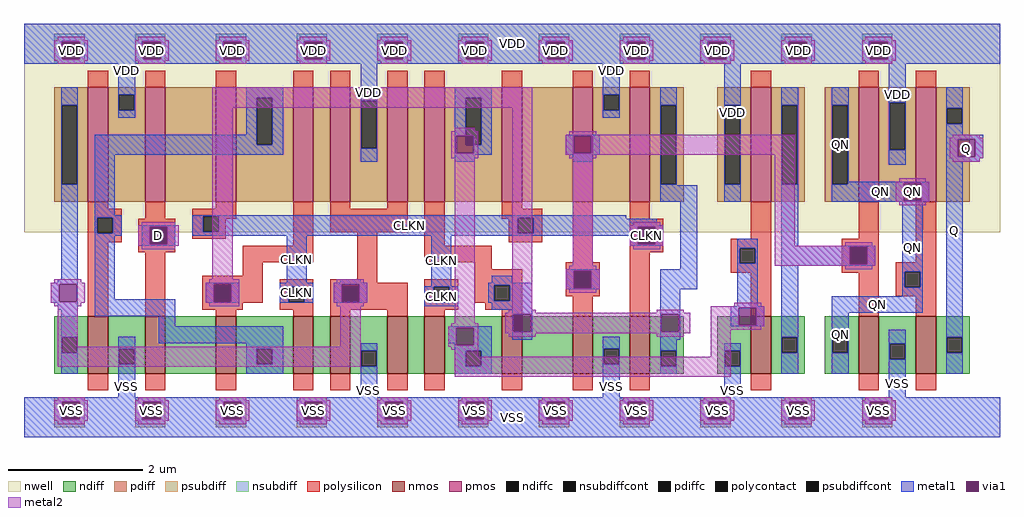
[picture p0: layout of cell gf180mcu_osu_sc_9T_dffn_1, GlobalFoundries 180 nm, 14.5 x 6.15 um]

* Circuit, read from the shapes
.subckt gf180mcu_osu_sc_9T_dffn_1 D Q QN CLKN VDD VSS
XM1 VSS n1 n2 VSS nfet_03v3 w=0.85u l=0.3u
XM2 n3 D VSS VSS nfet_03v3 w=0.85u l=0.3u
XM3 n1 n4 n3 VSS nfet_03v3 w=0.85u l=0.3u
XM4 n5 CLKN n1 VSS nfet_03v3 w=0.85u l=0.3u
XM5 VSS n2 n5 VSS nfet_03v3 w=0.85u l=0.3u
XM6 n6 n2 VSS VSS nfet_03v3 w=0.85u l=0.3u
XM7 n7 CLKN n6 VSS nfet_03v3 w=0.85u l=0.3u
XM8 n8 n4 n7 VSS nfet_03v3 w=0.85u l=0.3u
XM9 VSS n9 n8 VSS nfet_03v3 w=0.85u l=0.3u
XM10 n4 CLKN VSS VSS nfet_03v3 w=0.85u l=0.3u
XM11 n9 n7 VSS VSS nfet_03v3 w=0.85u l=0.3u
XM12 VSS n9 QN VSS nfet_03v3 w=0.85u l=0.3u
XM13 Q QN VSS VSS nfet_03v3 w=0.85u l=0.3u
XM14 VDD n1 n2 VDD pfet_03v3 w=1.7u l=0.3u
XM15 n10 D VDD VDD pfet_03v3 w=1.7u l=0.3u
XM16 n1 CLKN n10 VDD pfet_03v3 w=1.7u l=0.3u
XM17 n11 n4 n1 VDD pfet_03v3 w=1.7u l=0.3u
XM18 VDD n2 n11 VDD pfet_03v3 w=1.7u l=0.3u
XM19 n12 n2 VDD VDD pfet_03v3 w=1.7u l=0.3u
XM20 n7 n4 n12 VDD pfet_03v3 w=1.7u l=0.3u
XM21 n13 CLKN n7 VDD pfet_03v3 w=1.7u l=0.3u
XM22 VDD n9 n13 VDD pfet_03v3 w=1.7u l=0.3u
XM23 n4 CLKN VDD VDD pfet_03v3 w=1.7u l=0.3u
XM24 n9 n7 VDD VDD pfet_03v3 w=1.7u l=0.3u
XM25 VDD n9 QN VDD pfet_03v3 w=1.7u l=0.3u
XM26 Q QN VDD VDD pfet_03v3 w=1.7u l=0.3u
.ends

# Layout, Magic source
magic
tech gf180mcuC
magscale 1 10
<< nwell >>
rect 0 610 2900 1230
<< nmos >>
rect 190 190 250 360
rect 360 190 420 360
rect 570 190 630 360
rect 800 190 860 360
rect 910 190 970 360
rect 1080 190 1140 360
rect 1190 190 1250 360
rect 1420 190 1480 360
rect 1630 190 1690 360
rect 1800 190 1860 360
rect 2160 190 2220 360
rect 2480 190 2540 360
rect 2650 190 2710 360
<< pmos >>
rect 190 700 250 1040
rect 360 700 420 1040
rect 570 700 630 1040
rect 800 700 860 1040
rect 910 700 970 1040
rect 1080 700 1140 1040
rect 1190 700 1250 1040
rect 1420 700 1480 1040
rect 1630 700 1690 1040
rect 1800 700 1860 1040
rect 2160 700 2220 1040
rect 2480 700 2540 1040
rect 2650 700 2710 1040
<< ndiff >>
rect 90 298 190 360
rect 90 252 112 298
rect 158 252 190 298
rect 90 190 190 252
rect 250 263 360 360
rect 250 217 282 263
rect 328 217 360 263
rect 250 190 360 217
rect 420 190 570 360
rect 630 263 800 360
rect 630 217 692 263
rect 738 217 800 263
rect 630 190 800 217
rect 860 190 910 360
rect 970 258 1080 360
rect 970 212 1002 258
rect 1048 212 1080 258
rect 970 190 1080 212
rect 1140 190 1190 360
rect 1250 258 1420 360
rect 1250 212 1312 258
rect 1358 212 1420 258
rect 1250 190 1420 212
rect 1480 190 1630 360
rect 1690 263 1800 360
rect 1690 217 1722 263
rect 1768 217 1800 263
rect 1690 190 1800 217
rect 1860 258 1960 360
rect 1860 212 1892 258
rect 1938 212 1960 258
rect 1860 190 1960 212
rect 2060 258 2160 360
rect 2060 212 2082 258
rect 2128 212 2160 258
rect 2060 190 2160 212
rect 2220 298 2320 360
rect 2220 252 2252 298
rect 2298 252 2320 298
rect 2220 190 2320 252
rect 2380 298 2480 360
rect 2380 252 2402 298
rect 2448 252 2480 298
rect 2380 190 2480 252
rect 2540 278 2650 360
rect 2540 232 2572 278
rect 2618 232 2650 278
rect 2540 190 2650 232
rect 2710 298 2810 360
rect 2710 252 2742 298
rect 2788 252 2810 298
rect 2710 190 2810 252
<< pdiff >>
rect 90 987 190 1040
rect 90 753 112 987
rect 158 753 190 987
rect 90 700 190 753
rect 250 1018 360 1040
rect 250 972 282 1018
rect 328 972 360 1018
rect 250 700 360 972
rect 420 700 570 1040
rect 630 1010 800 1040
rect 630 870 692 1010
rect 738 870 800 1010
rect 630 700 800 870
rect 860 700 910 1040
rect 970 1000 1080 1040
rect 970 860 1002 1000
rect 1048 860 1080 1000
rect 970 700 1080 860
rect 1140 700 1190 1040
rect 1250 1010 1420 1040
rect 1250 870 1312 1010
rect 1358 870 1420 1010
rect 1250 700 1420 870
rect 1480 700 1630 1040
rect 1690 1018 1800 1040
rect 1690 972 1722 1018
rect 1768 972 1800 1018
rect 1690 700 1800 972
rect 1860 987 1960 1040
rect 1860 753 1892 987
rect 1938 753 1960 987
rect 1860 700 1960 753
rect 2060 987 2160 1040
rect 2060 753 2082 987
rect 2128 753 2160 987
rect 2060 700 2160 753
rect 2220 987 2320 1040
rect 2220 753 2252 987
rect 2298 753 2320 987
rect 2220 700 2320 753
rect 2380 987 2480 1040
rect 2380 753 2402 987
rect 2448 753 2480 987
rect 2380 700 2480 753
rect 2540 995 2650 1040
rect 2540 855 2572 995
rect 2618 855 2650 995
rect 2540 700 2650 855
rect 2710 978 2810 1040
rect 2710 932 2742 978
rect 2788 932 2810 978
rect 2710 700 2810 932
<< ndiffc >>
rect 112 252 158 298
rect 282 217 328 263
rect 692 217 738 263
rect 1002 212 1048 258
rect 1312 212 1358 258
rect 1722 217 1768 263
rect 1892 212 1938 258
rect 2082 212 2128 258
rect 2252 252 2298 298
rect 2402 252 2448 298
rect 2572 232 2618 278
rect 2742 252 2788 298
<< pdiffc >>
rect 112 753 158 987
rect 282 972 328 1018
rect 692 870 738 1010
rect 1002 860 1048 1000
rect 1312 870 1358 1010
rect 1722 972 1768 1018
rect 1892 753 1938 987
rect 2082 753 2128 987
rect 2252 753 2298 987
rect 2402 753 2448 987
rect 2572 855 2618 995
rect 2742 932 2788 978
<< psubdiff >>
rect 90 98 180 120
rect 90 52 112 98
rect 158 52 180 98
rect 90 30 180 52
rect 330 98 420 120
rect 330 52 352 98
rect 398 52 420 98
rect 330 30 420 52
rect 570 98 660 120
rect 570 52 592 98
rect 638 52 660 98
rect 570 30 660 52
rect 810 98 900 120
rect 810 52 832 98
rect 878 52 900 98
rect 810 30 900 52
rect 1050 98 1140 120
rect 1050 52 1072 98
rect 1118 52 1140 98
rect 1050 30 1140 52
rect 1290 98 1380 120
rect 1290 52 1312 98
rect 1358 52 1380 98
rect 1290 30 1380 52
rect 1530 98 1620 120
rect 1530 52 1552 98
rect 1598 52 1620 98
rect 1530 30 1620 52
rect 1770 98 1860 120
rect 1770 52 1792 98
rect 1838 52 1860 98
rect 1770 30 1860 52
rect 2010 98 2100 120
rect 2010 52 2032 98
rect 2078 52 2100 98
rect 2010 30 2100 52
rect 2250 98 2340 120
rect 2250 52 2272 98
rect 2318 52 2340 98
rect 2250 30 2340 52
rect 2490 98 2580 120
rect 2490 52 2512 98
rect 2558 52 2580 98
rect 2490 30 2580 52
<< nsubdiff >>
rect 90 1178 180 1200
rect 90 1132 112 1178
rect 158 1132 180 1178
rect 90 1110 180 1132
rect 330 1178 420 1200
rect 330 1132 352 1178
rect 398 1132 420 1178
rect 330 1110 420 1132
rect 570 1178 660 1200
rect 570 1132 592 1178
rect 638 1132 660 1178
rect 570 1110 660 1132
rect 810 1178 900 1200
rect 810 1132 832 1178
rect 878 1132 900 1178
rect 810 1110 900 1132
rect 1050 1178 1140 1200
rect 1050 1132 1072 1178
rect 1118 1132 1140 1178
rect 1050 1110 1140 1132
rect 1290 1178 1380 1200
rect 1290 1132 1312 1178
rect 1358 1132 1380 1178
rect 1290 1110 1380 1132
rect 1530 1178 1620 1200
rect 1530 1132 1552 1178
rect 1598 1132 1620 1178
rect 1530 1110 1620 1132
rect 1770 1178 1860 1200
rect 1770 1132 1792 1178
rect 1838 1132 1860 1178
rect 1770 1110 1860 1132
rect 2010 1178 2100 1200
rect 2010 1132 2032 1178
rect 2078 1132 2100 1178
rect 2010 1110 2100 1132
rect 2250 1178 2340 1200
rect 2250 1132 2272 1178
rect 2318 1132 2340 1178
rect 2250 1110 2340 1132
rect 2490 1178 2580 1200
rect 2490 1132 2512 1178
rect 2558 1132 2580 1178
rect 2490 1110 2580 1132
<< psubdiffcont >>
rect 112 52 158 98
rect 352 52 398 98
rect 592 52 638 98
rect 832 52 878 98
rect 1072 52 1118 98
rect 1312 52 1358 98
rect 1552 52 1598 98
rect 1792 52 1838 98
rect 2032 52 2078 98
rect 2272 52 2318 98
rect 2512 52 2558 98
<< nsubdiffcont >>
rect 112 1132 158 1178
rect 352 1132 398 1178
rect 592 1132 638 1178
rect 832 1132 878 1178
rect 1072 1132 1118 1178
rect 1312 1132 1358 1178
rect 1552 1132 1598 1178
rect 1792 1132 1838 1178
rect 2032 1132 2078 1178
rect 2272 1132 2318 1178
rect 2512 1132 2558 1178
<< polysilicon >>
rect 190 1040 250 1090
rect 360 1040 420 1090
rect 570 1040 630 1090
rect 800 1040 860 1090
rect 910 1040 970 1090
rect 1080 1040 1140 1090
rect 1190 1040 1250 1090
rect 1420 1040 1480 1090
rect 1630 1040 1690 1090
rect 1800 1040 1860 1090
rect 2160 1040 2220 1090
rect 2480 1040 2540 1090
rect 2650 1040 2710 1090
rect 190 680 250 700
rect 190 653 290 680
rect 190 607 217 653
rect 263 607 290 653
rect 360 650 420 700
rect 570 680 630 700
rect 500 658 630 680
rect 190 580 290 607
rect 340 623 450 650
rect 190 360 250 580
rect 340 577 377 623
rect 423 577 450 623
rect 500 612 532 658
rect 578 650 630 658
rect 578 612 600 650
rect 500 590 600 612
rect 340 550 450 577
rect 800 570 860 700
rect 910 680 970 700
rect 1080 680 1140 700
rect 910 610 1140 680
rect 360 360 420 550
rect 650 520 860 570
rect 650 480 710 520
rect 530 453 710 480
rect 990 470 1050 610
rect 1190 570 1250 700
rect 1420 680 1480 700
rect 1420 653 1540 680
rect 1420 650 1467 653
rect 1440 607 1467 650
rect 1513 607 1540 653
rect 1440 580 1540 607
rect 1190 520 1390 570
rect 1630 520 1690 700
rect 1800 650 1860 700
rect 1800 623 1900 650
rect 1800 577 1827 623
rect 1873 577 1900 623
rect 2160 590 2220 700
rect 2480 590 2540 700
rect 1800 550 1900 577
rect 2100 563 2220 590
rect 1340 500 1390 520
rect 530 407 567 453
rect 613 407 710 453
rect 530 400 710 407
rect 760 448 860 470
rect 760 402 787 448
rect 833 402 860 448
rect 530 380 650 400
rect 760 380 860 402
rect 570 360 630 380
rect 800 360 860 380
rect 910 460 1050 470
rect 910 448 1140 460
rect 910 402 947 448
rect 993 402 1140 448
rect 910 380 1140 402
rect 910 360 970 380
rect 1080 360 1140 380
rect 1190 448 1290 470
rect 1190 402 1217 448
rect 1263 402 1290 448
rect 1190 380 1290 402
rect 1340 453 1480 500
rect 1340 407 1397 453
rect 1443 407 1480 453
rect 1610 493 1710 520
rect 1610 447 1637 493
rect 1683 447 1710 493
rect 1610 420 1710 447
rect 1340 400 1480 407
rect 1370 380 1480 400
rect 1190 360 1250 380
rect 1420 360 1480 380
rect 1630 360 1690 420
rect 1800 360 1860 550
rect 2100 517 2127 563
rect 2173 517 2220 563
rect 2100 490 2220 517
rect 2430 563 2540 590
rect 2430 517 2457 563
rect 2503 517 2540 563
rect 2650 520 2710 700
rect 2430 490 2540 517
rect 2160 360 2220 490
rect 2480 360 2540 490
rect 2590 493 2710 520
rect 2590 447 2617 493
rect 2663 447 2710 493
rect 2590 420 2710 447
rect 2650 360 2710 420
rect 190 140 250 190
rect 360 140 420 190
rect 570 140 630 190
rect 800 140 860 190
rect 910 140 970 190
rect 1080 140 1140 190
rect 1190 140 1250 190
rect 1420 140 1480 190
rect 1630 140 1690 190
rect 1800 140 1860 190
rect 2160 140 2220 190
rect 2480 140 2540 190
rect 2650 140 2710 190
<< polycontact >>
rect 217 607 263 653
rect 377 577 423 623
rect 532 612 578 658
rect 1467 607 1513 653
rect 1827 577 1873 623
rect 567 407 613 453
rect 787 402 833 448
rect 947 402 993 448
rect 1217 402 1263 448
rect 1397 407 1443 453
rect 1637 447 1683 493
rect 2127 517 2173 563
rect 2457 517 2503 563
rect 2617 447 2663 493
<< metal1 >>
rect 0 1178 2900 1230
rect 0 1132 112 1178
rect 158 1176 352 1178
rect 398 1176 592 1178
rect 638 1176 832 1178
rect 878 1176 1072 1178
rect 1118 1176 1312 1178
rect 1358 1176 1552 1178
rect 1598 1176 1792 1178
rect 1838 1176 2032 1178
rect 2078 1176 2272 1178
rect 2318 1176 2512 1178
rect 2558 1176 2900 1178
rect 166 1132 352 1176
rect 406 1132 592 1176
rect 646 1132 832 1176
rect 886 1132 1072 1176
rect 1126 1132 1312 1176
rect 1366 1132 1552 1176
rect 1606 1132 1792 1176
rect 1846 1132 2032 1176
rect 2086 1132 2272 1176
rect 2326 1132 2512 1176
rect 0 1124 114 1132
rect 166 1124 354 1132
rect 406 1124 594 1132
rect 646 1124 834 1132
rect 886 1124 1074 1132
rect 1126 1124 1314 1132
rect 1366 1124 1554 1132
rect 1606 1124 1794 1132
rect 1846 1124 2034 1132
rect 2086 1124 2274 1132
rect 2326 1124 2514 1132
rect 2566 1124 2900 1176
rect 0 1110 2900 1124
rect 110 987 160 1040
rect 110 753 112 987
rect 158 753 160 987
rect 280 1018 330 1110
rect 280 972 282 1018
rect 328 972 330 1018
rect 280 950 330 972
rect 660 1010 770 1040
rect 660 900 692 1010
rect 110 470 160 753
rect 100 460 160 470
rect 80 456 160 460
rect 80 404 104 456
rect 156 404 160 456
rect 80 400 160 404
rect 100 380 160 400
rect 110 298 160 380
rect 210 870 692 900
rect 738 870 770 1010
rect 210 840 770 870
rect 1000 1000 1050 1110
rect 1000 860 1002 1000
rect 1048 860 1050 1000
rect 210 660 270 840
rect 1000 820 1050 860
rect 1280 1010 1390 1040
rect 1280 896 1312 1010
rect 1280 844 1284 896
rect 1358 870 1390 1010
rect 1720 1018 1770 1110
rect 1720 972 1722 1018
rect 1768 972 1770 1018
rect 1720 950 1770 972
rect 1890 987 1940 1040
rect 1336 844 1390 870
rect 1280 840 1390 844
rect 1610 896 1710 900
rect 1610 844 1634 896
rect 1686 844 1710 896
rect 1610 840 1710 844
rect 1280 820 1340 840
rect 1630 820 1690 840
rect 1890 753 1892 987
rect 1938 753 1940 987
rect 1890 750 1940 753
rect 2080 987 2130 1110
rect 2080 753 2082 987
rect 2128 753 2130 987
rect 1890 700 2000 750
rect 2080 700 2130 753
rect 2250 987 2300 1040
rect 2250 753 2252 987
rect 2298 753 2300 987
rect 210 653 290 660
rect 210 607 217 653
rect 263 607 290 653
rect 500 658 1790 660
rect 210 600 290 607
rect 350 626 450 630
rect 210 410 270 600
rect 350 574 374 626
rect 426 574 450 626
rect 500 612 532 658
rect 578 653 1790 658
rect 578 612 1467 653
rect 500 607 1467 612
rect 1513 650 1790 653
rect 1513 630 1880 650
rect 1513 626 1900 630
rect 1513 607 1824 626
rect 500 600 1824 607
rect 350 570 450 574
rect 780 460 840 600
rect 940 460 1000 470
rect 540 456 640 460
rect 210 360 450 410
rect 540 404 564 456
rect 616 404 640 456
rect 540 400 640 404
rect 760 448 860 460
rect 760 402 787 448
rect 833 402 860 448
rect 760 400 860 402
rect 920 456 1020 460
rect 920 404 944 456
rect 996 404 1020 456
rect 1210 450 1270 600
rect 1800 574 1824 600
rect 1876 574 1900 626
rect 1800 570 1900 574
rect 1950 500 2000 700
rect 1610 496 1710 500
rect 1390 460 1450 480
rect 1380 453 1510 460
rect 920 402 947 404
rect 993 402 1020 404
rect 920 400 1020 402
rect 1190 448 1290 450
rect 1190 402 1217 448
rect 1263 402 1290 448
rect 1190 390 1290 402
rect 1380 407 1397 453
rect 1443 407 1510 453
rect 1610 444 1634 496
rect 1686 444 1710 496
rect 1610 440 1710 444
rect 1890 440 2000 500
rect 2120 563 2180 590
rect 2120 517 2127 563
rect 2173 517 2180 563
rect 1380 400 1510 407
rect 1390 380 1510 400
rect 400 330 450 360
rect 1450 366 1510 380
rect 110 252 112 298
rect 158 252 160 298
rect 110 190 160 252
rect 280 263 330 300
rect 400 280 770 330
rect 1260 326 1390 330
rect 1260 280 1284 326
rect 280 217 282 263
rect 328 217 330 263
rect 280 120 330 217
rect 660 263 770 280
rect 660 217 692 263
rect 738 217 770 263
rect 660 190 770 217
rect 1000 258 1050 280
rect 1000 212 1002 258
rect 1048 212 1050 258
rect 1000 120 1050 212
rect 1280 274 1284 280
rect 1336 274 1390 326
rect 1450 314 1454 366
rect 1506 314 1510 366
rect 1450 290 1510 314
rect 1890 366 1950 440
rect 2120 390 2180 517
rect 2250 570 2300 753
rect 2400 987 2450 1040
rect 2400 753 2402 987
rect 2448 760 2450 987
rect 2570 995 2620 1110
rect 2570 855 2572 995
rect 2618 855 2620 995
rect 2570 810 2620 855
rect 2740 978 2790 1040
rect 2740 932 2742 978
rect 2788 932 2790 978
rect 2740 900 2790 932
rect 2740 886 2850 900
rect 2740 834 2774 886
rect 2826 834 2850 886
rect 2740 830 2850 834
rect 2740 820 2840 830
rect 2448 756 2690 760
rect 2448 753 2614 756
rect 2400 704 2614 753
rect 2666 704 2690 756
rect 2400 700 2690 704
rect 2250 566 2530 570
rect 2250 514 2454 566
rect 2506 514 2530 566
rect 2250 510 2530 514
rect 1890 314 1894 366
rect 1946 314 1950 366
rect 2100 386 2200 390
rect 2100 334 2124 386
rect 2176 334 2200 386
rect 2100 330 2200 334
rect 1280 258 1390 274
rect 1280 212 1312 258
rect 1358 212 1390 258
rect 1280 190 1390 212
rect 1720 263 1770 300
rect 1720 217 1722 263
rect 1768 217 1770 263
rect 1720 120 1770 217
rect 1890 290 1950 314
rect 2250 298 2300 510
rect 2610 493 2670 700
rect 2610 447 2617 493
rect 2663 447 2670 493
rect 2610 420 2670 447
rect 1890 258 1940 290
rect 1890 212 1892 258
rect 1938 212 1940 258
rect 1890 190 1940 212
rect 2080 258 2130 280
rect 2080 212 2082 258
rect 2128 212 2130 258
rect 2080 120 2130 212
rect 2250 252 2252 298
rect 2298 252 2300 298
rect 2250 190 2300 252
rect 2400 370 2670 420
rect 2400 298 2450 370
rect 2400 252 2402 298
rect 2448 252 2450 298
rect 2400 190 2450 252
rect 2570 278 2620 320
rect 2570 232 2572 278
rect 2618 232 2620 278
rect 2570 120 2620 232
rect 2740 298 2790 820
rect 2740 252 2742 298
rect 2788 252 2790 298
rect 2740 190 2790 252
rect 0 106 2900 120
rect 0 98 114 106
rect 166 98 354 106
rect 406 98 594 106
rect 646 98 834 106
rect 886 98 1074 106
rect 1126 98 1314 106
rect 1366 98 1554 106
rect 1606 98 1794 106
rect 1846 98 2034 106
rect 2086 98 2274 106
rect 2326 98 2514 106
rect 0 52 112 98
rect 166 54 352 98
rect 406 54 592 98
rect 646 54 832 98
rect 886 54 1072 98
rect 1126 54 1312 98
rect 1366 54 1552 98
rect 1606 54 1792 98
rect 1846 54 2032 98
rect 2086 54 2272 98
rect 2326 54 2512 98
rect 2566 54 2900 106
rect 158 52 352 54
rect 398 52 592 54
rect 638 52 832 54
rect 878 52 1072 54
rect 1118 52 1312 54
rect 1358 52 1552 54
rect 1598 52 1792 54
rect 1838 52 2032 54
rect 2078 52 2272 54
rect 2318 52 2512 54
rect 2558 52 2900 54
rect 0 0 2900 52
<< via1 >>
rect 114 1132 158 1176
rect 158 1132 166 1176
rect 354 1132 398 1176
rect 398 1132 406 1176
rect 594 1132 638 1176
rect 638 1132 646 1176
rect 834 1132 878 1176
rect 878 1132 886 1176
rect 1074 1132 1118 1176
rect 1118 1132 1126 1176
rect 1314 1132 1358 1176
rect 1358 1132 1366 1176
rect 1554 1132 1598 1176
rect 1598 1132 1606 1176
rect 1794 1132 1838 1176
rect 1838 1132 1846 1176
rect 2034 1132 2078 1176
rect 2078 1132 2086 1176
rect 2274 1132 2318 1176
rect 2318 1132 2326 1176
rect 2514 1132 2558 1176
rect 2558 1132 2566 1176
rect 114 1124 166 1132
rect 354 1124 406 1132
rect 594 1124 646 1132
rect 834 1124 886 1132
rect 1074 1124 1126 1132
rect 1314 1124 1366 1132
rect 1554 1124 1606 1132
rect 1794 1124 1846 1132
rect 2034 1124 2086 1132
rect 2274 1124 2326 1132
rect 2514 1124 2566 1132
rect 104 404 156 456
rect 1284 870 1312 896
rect 1312 870 1336 896
rect 1284 844 1336 870
rect 1634 844 1686 896
rect 374 623 426 626
rect 374 577 377 623
rect 377 577 423 623
rect 423 577 426 623
rect 374 574 426 577
rect 1824 623 1876 626
rect 564 453 616 456
rect 564 407 567 453
rect 567 407 613 453
rect 613 407 616 453
rect 564 404 616 407
rect 944 448 996 456
rect 944 404 947 448
rect 947 404 993 448
rect 993 404 996 448
rect 1824 577 1827 623
rect 1827 577 1873 623
rect 1873 577 1876 623
rect 1824 574 1876 577
rect 1634 493 1686 496
rect 1634 447 1637 493
rect 1637 447 1683 493
rect 1683 447 1686 493
rect 1634 444 1686 447
rect 1284 274 1336 326
rect 1454 314 1506 366
rect 2774 834 2826 886
rect 2614 704 2666 756
rect 2454 563 2506 566
rect 2454 517 2457 563
rect 2457 517 2503 563
rect 2503 517 2506 563
rect 2454 514 2506 517
rect 1894 314 1946 366
rect 2124 334 2176 386
rect 114 98 166 106
rect 354 98 406 106
rect 594 98 646 106
rect 834 98 886 106
rect 1074 98 1126 106
rect 1314 98 1366 106
rect 1554 98 1606 106
rect 1794 98 1846 106
rect 2034 98 2086 106
rect 2274 98 2326 106
rect 2514 98 2566 106
rect 114 54 158 98
rect 158 54 166 98
rect 354 54 398 98
rect 398 54 406 98
rect 594 54 638 98
rect 638 54 646 98
rect 834 54 878 98
rect 878 54 886 98
rect 1074 54 1118 98
rect 1118 54 1126 98
rect 1314 54 1358 98
rect 1358 54 1366 98
rect 1554 54 1598 98
rect 1598 54 1606 98
rect 1794 54 1838 98
rect 1838 54 1846 98
rect 2034 54 2078 98
rect 2078 54 2086 98
rect 2274 54 2318 98
rect 2318 54 2326 98
rect 2514 54 2558 98
rect 2558 54 2566 98
<< metal2 >>
rect 100 1180 180 1190
rect 340 1180 420 1190
rect 580 1180 660 1190
rect 820 1180 900 1190
rect 1060 1180 1140 1190
rect 1300 1180 1380 1190
rect 1540 1180 1620 1190
rect 1780 1180 1860 1190
rect 2020 1180 2100 1190
rect 2260 1180 2340 1190
rect 2500 1180 2580 1190
rect 90 1176 190 1180
rect 90 1124 114 1176
rect 166 1124 190 1176
rect 90 1120 190 1124
rect 330 1176 430 1180
rect 330 1124 354 1176
rect 406 1124 430 1176
rect 330 1120 430 1124
rect 570 1176 670 1180
rect 570 1124 594 1176
rect 646 1124 670 1176
rect 570 1120 670 1124
rect 810 1176 910 1180
rect 810 1124 834 1176
rect 886 1124 910 1176
rect 810 1120 910 1124
rect 1050 1176 1150 1180
rect 1050 1124 1074 1176
rect 1126 1124 1150 1176
rect 1050 1120 1150 1124
rect 1290 1176 1390 1180
rect 1290 1124 1314 1176
rect 1366 1124 1390 1176
rect 1290 1120 1390 1124
rect 1530 1176 1630 1180
rect 1530 1124 1554 1176
rect 1606 1124 1630 1176
rect 1530 1120 1630 1124
rect 1770 1176 1870 1180
rect 1770 1124 1794 1176
rect 1846 1124 1870 1176
rect 1770 1120 1870 1124
rect 2010 1176 2110 1180
rect 2010 1124 2034 1176
rect 2086 1124 2110 1176
rect 2010 1120 2110 1124
rect 2250 1176 2350 1180
rect 2250 1124 2274 1176
rect 2326 1124 2350 1176
rect 2250 1120 2350 1124
rect 2490 1176 2590 1180
rect 2490 1124 2514 1176
rect 2566 1124 2590 1176
rect 2490 1120 2590 1124
rect 100 1110 180 1120
rect 340 1110 420 1120
rect 580 1110 660 1120
rect 820 1110 900 1120
rect 1060 1110 1140 1120
rect 1300 1110 1380 1120
rect 1540 1110 1620 1120
rect 1780 1110 1860 1120
rect 2020 1110 2100 1120
rect 2260 1110 2340 1120
rect 2500 1110 2580 1120
rect 560 980 1510 1040
rect 350 630 450 640
rect 340 626 460 630
rect 340 574 374 626
rect 426 574 460 626
rect 340 570 460 574
rect 350 560 450 570
rect 560 470 620 980
rect 1280 910 1340 920
rect 1270 896 1350 910
rect 1270 844 1284 896
rect 1336 844 1350 896
rect 1270 830 1350 844
rect 90 460 170 470
rect 550 460 640 470
rect 930 460 1010 470
rect 80 456 180 460
rect 80 404 104 456
rect 156 404 180 456
rect 80 400 180 404
rect 540 456 640 460
rect 540 404 564 456
rect 616 404 640 456
rect 540 400 640 404
rect 920 456 1020 460
rect 920 404 944 456
rect 996 404 1020 456
rect 920 400 1020 404
rect 90 390 170 400
rect 550 390 640 400
rect 930 390 1010 400
rect 100 270 160 390
rect 940 270 1000 390
rect 1280 340 1340 830
rect 1450 380 1510 980
rect 1620 900 1700 910
rect 1610 896 2290 900
rect 1610 844 1634 896
rect 1686 844 2290 896
rect 2760 890 2840 900
rect 1610 840 2290 844
rect 1620 830 1700 840
rect 1630 510 1690 830
rect 1810 630 1890 640
rect 1800 626 1900 630
rect 1800 574 1824 626
rect 1876 574 1900 626
rect 1800 570 1900 574
rect 2230 570 2290 840
rect 2750 886 2850 890
rect 2750 834 2774 886
rect 2826 834 2850 886
rect 2750 830 2850 834
rect 2760 820 2840 830
rect 2600 760 2680 770
rect 2590 756 2690 760
rect 2590 704 2614 756
rect 2666 704 2690 756
rect 2590 700 2690 704
rect 2600 690 2680 700
rect 2440 570 2520 580
rect 1810 560 1890 570
rect 2230 566 2530 570
rect 2230 514 2454 566
rect 2506 514 2530 566
rect 2230 510 2530 514
rect 1620 500 1700 510
rect 2440 500 2520 510
rect 1610 496 1710 500
rect 1610 444 1634 496
rect 1686 444 1710 496
rect 1610 440 1710 444
rect 1620 430 1700 440
rect 2110 390 2190 400
rect 2040 386 2200 390
rect 1440 370 1520 380
rect 1880 370 1960 380
rect 1430 366 1980 370
rect 1270 330 1350 340
rect 1260 326 1350 330
rect 1260 274 1284 326
rect 1336 274 1350 326
rect 1430 314 1454 366
rect 1506 314 1894 366
rect 1946 314 1980 366
rect 1430 310 1980 314
rect 2040 334 2124 386
rect 2176 334 2200 386
rect 2040 330 2200 334
rect 2040 320 2190 330
rect 1440 300 1520 310
rect 1880 300 1960 310
rect 1260 270 1350 274
rect 100 210 1000 270
rect 1270 260 1350 270
rect 1280 240 1350 260
rect 2040 240 2100 320
rect 1280 180 2100 240
rect 100 110 180 120
rect 340 110 420 120
rect 580 110 660 120
rect 820 110 900 120
rect 1060 110 1140 120
rect 1300 110 1380 120
rect 1540 110 1620 120
rect 1780 110 1860 120
rect 2020 110 2100 120
rect 2260 110 2340 120
rect 2500 110 2580 120
rect 90 106 190 110
rect 90 54 114 106
rect 166 54 190 106
rect 90 50 190 54
rect 330 106 430 110
rect 330 54 354 106
rect 406 54 430 106
rect 330 50 430 54
rect 570 106 670 110
rect 570 54 594 106
rect 646 54 670 106
rect 570 50 670 54
rect 810 106 910 110
rect 810 54 834 106
rect 886 54 910 106
rect 810 50 910 54
rect 1050 106 1150 110
rect 1050 54 1074 106
rect 1126 54 1150 106
rect 1050 50 1150 54
rect 1290 106 1390 110
rect 1290 54 1314 106
rect 1366 54 1390 106
rect 1290 50 1390 54
rect 1530 106 1630 110
rect 1530 54 1554 106
rect 1606 54 1630 106
rect 1530 50 1630 54
rect 1770 106 1870 110
rect 1770 54 1794 106
rect 1846 54 1870 106
rect 1770 50 1870 54
rect 2010 106 2110 110
rect 2010 54 2034 106
rect 2086 54 2110 106
rect 2010 50 2110 54
rect 2250 106 2350 110
rect 2250 54 2274 106
rect 2326 54 2350 106
rect 2250 50 2350 54
rect 2490 106 2590 110
rect 2490 54 2514 106
rect 2566 54 2590 106
rect 2490 50 2590 54
rect 100 40 180 50
rect 340 40 420 50
rect 580 40 660 50
rect 820 40 900 50
rect 1060 40 1140 50
rect 1300 40 1380 50
rect 1540 40 1620 50
rect 1780 40 1860 50
rect 2020 40 2100 50
rect 2260 40 2340 50
rect 2500 40 2580 50
<< labels >>
rlabel metal2 s 100 1110 180 1190 4 VDD
port 10 nsew power bidirectional abutment
rlabel metal2 s 100 40 180 120 4 VSS
port 11 nsew ground bidirectional
rlabel metal2 s 350 560 450 640 4 D
port 1 nsew signal input
rlabel metal2 s 2760 820 2840 900 4 Q
port 2 nsew signal output
rlabel metal2 s 2600 690 2680 770 4 QN
port 3 nsew signal output
rlabel metal2 s 1810 560 1890 640 4 CLKN
port 4 nsew clock input
rlabel metal2 s 1800 570 1900 630 1 CLKN
port 4 nsew clock input
rlabel metal1 s 780 400 840 660 1 CLKN
port 4 nsew clock input
rlabel metal1 s 760 400 860 460 1 CLKN
port 4 nsew clock input
rlabel metal1 s 1210 390 1270 660 1 CLKN
port 4 nsew clock input
rlabel metal1 s 1190 390 1290 450 1 CLKN
port 4 nsew clock input
rlabel metal1 s 500 600 1790 660 1 CLKN
port 4 nsew clock input
rlabel metal1 s 500 600 1880 650 1 CLKN
port 4 nsew clock input
rlabel metal1 s 1800 570 1900 630 1 CLKN
port 4 nsew clock input
rlabel metal2 s 340 570 460 630 1 D
port 1 nsew signal input
rlabel metal1 s 350 570 450 630 1 D
port 1 nsew signal input
rlabel metal2 s 2750 830 2850 890 1 Q
port 2 nsew signal output
rlabel metal1 s 2740 190 2790 1040 1 Q
port 2 nsew signal output
rlabel metal1 s 2740 820 2840 900 1 Q
port 2 nsew signal output
rlabel metal1 s 2740 830 2850 900 1 Q
port 2 nsew signal output
rlabel metal2 s 2590 700 2690 760 1 QN
port 3 nsew signal output
rlabel metal1 s 2400 190 2450 420 1 QN
port 3 nsew signal output
rlabel metal1 s 2400 700 2450 1040 1 QN
port 3 nsew signal output
rlabel metal1 s 2400 370 2670 420 1 QN
port 3 nsew signal output
rlabel metal1 s 2610 370 2670 760 1 QN
port 3 nsew signal output
rlabel metal1 s 2400 700 2690 760 1 QN
port 3 nsew signal output
rlabel metal2 s 90 1120 190 1180 1 VDD
port 10 nsew power bidirectional abutment
rlabel metal2 s 340 1110 420 1190 1 VDD
port 10 nsew power bidirectional abutment
rlabel metal2 s 330 1120 430 1180 1 VDD
port 10 nsew power bidirectional abutment
rlabel metal2 s 580 1110 660 1190 1 VDD
port 10 nsew power bidirectional abutment
rlabel metal2 s 570 1120 670 1180 1 VDD
port 10 nsew power bidirectional abutment
rlabel metal2 s 820 1110 900 1190 1 VDD
port 10 nsew power bidirectional abutment
rlabel metal2 s 810 1120 910 1180 1 VDD
port 10 nsew power bidirectional abutment
rlabel metal2 s 1060 1110 1140 1190 1 VDD
port 10 nsew power bidirectional abutment
rlabel metal2 s 1050 1120 1150 1180 1 VDD
port 10 nsew power bidirectional abutment
rlabel metal2 s 1300 1110 1380 1190 1 VDD
port 10 nsew power bidirectional abutment
rlabel metal2 s 1290 1120 1390 1180 1 VDD
port 10 nsew power bidirectional abutment
rlabel metal2 s 1540 1110 1620 1190 1 VDD
port 10 nsew power bidirectional abutment
rlabel metal2 s 1530 1120 1630 1180 1 VDD
port 10 nsew power bidirectional abutment
rlabel metal2 s 1780 1110 1860 1190 1 VDD
port 10 nsew power bidirectional abutment
rlabel metal2 s 1770 1120 1870 1180 1 VDD
port 10 nsew power bidirectional abutment
rlabel metal2 s 2020 1110 2100 1190 1 VDD
port 10 nsew power bidirectional abutment
rlabel metal2 s 2010 1120 2110 1180 1 VDD
port 10 nsew power bidirectional abutment
rlabel metal2 s 2260 1110 2340 1190 1 VDD
port 10 nsew power bidirectional abutment
rlabel metal2 s 2250 1120 2350 1180 1 VDD
port 10 nsew power bidirectional abutment
rlabel metal2 s 2500 1110 2580 1190 1 VDD
port 10 nsew power bidirectional abutment
rlabel metal2 s 2490 1120 2590 1180 1 VDD
port 10 nsew power bidirectional abutment
rlabel metal1 s 280 950 330 1230 1 VDD
port 10 nsew power bidirectional abutment
rlabel metal1 s 1000 820 1050 1230 1 VDD
port 10 nsew power bidirectional abutment
rlabel metal1 s 1720 950 1770 1230 1 VDD
port 10 nsew power bidirectional abutment
rlabel metal1 s 2080 700 2130 1230 1 VDD
port 10 nsew power bidirectional abutment
rlabel metal1 s 2570 810 2620 1230 1 VDD
port 10 nsew power bidirectional abutment
rlabel metal1 s 0 1110 2900 1230 1 VDD
port 10 nsew power bidirectional abutment
rlabel metal2 s 90 50 190 110 1 VSS
port 11 nsew ground bidirectional
rlabel metal2 s 340 40 420 120 1 VSS
port 11 nsew ground bidirectional
rlabel metal2 s 330 50 430 110 1 VSS
port 11 nsew ground bidirectional
rlabel metal2 s 580 40 660 120 1 VSS
port 11 nsew ground bidirectional
rlabel metal2 s 570 50 670 110 1 VSS
port 11 nsew ground bidirectional
rlabel metal2 s 820 40 900 120 1 VSS
port 11 nsew ground bidirectional
rlabel metal2 s 810 50 910 110 1 VSS
port 11 nsew ground bidirectional
rlabel metal2 s 1060 40 1140 120 1 VSS
port 11 nsew ground bidirectional
rlabel metal2 s 1050 50 1150 110 1 VSS
port 11 nsew ground bidirectional
rlabel metal2 s 1300 40 1380 120 1 VSS
port 11 nsew ground bidirectional
rlabel metal2 s 1290 50 1390 110 1 VSS
port 11 nsew ground bidirectional
rlabel metal2 s 1540 40 1620 120 1 VSS
port 11 nsew ground bidirectional
rlabel metal2 s 1530 50 1630 110 1 VSS
port 11 nsew ground bidirectional
rlabel metal2 s 1780 40 1860 120 1 VSS
port 11 nsew ground bidirectional
rlabel metal2 s 1770 50 1870 110 1 VSS
port 11 nsew ground bidirectional
rlabel metal2 s 2020 40 2100 120 1 VSS
port 11 nsew ground bidirectional
rlabel metal2 s 2010 50 2110 110 1 VSS
port 11 nsew ground bidirectional
rlabel metal2 s 2260 40 2340 120 1 VSS
port 11 nsew ground bidirectional
rlabel metal2 s 2250 50 2350 110 1 VSS
port 11 nsew ground bidirectional
rlabel metal2 s 2500 40 2580 120 1 VSS
port 11 nsew ground bidirectional
rlabel metal2 s 2490 50 2590 110 1 VSS
port 11 nsew ground bidirectional
rlabel metal1 s 280 0 330 300 1 VSS
port 11 nsew ground bidirectional
rlabel metal1 s 1000 0 1050 280 1 VSS
port 11 nsew ground bidirectional
rlabel metal1 s 1720 0 1770 300 1 VSS
port 11 nsew ground bidirectional
rlabel metal1 s 2080 0 2130 280 1 VSS
port 11 nsew ground bidirectional
rlabel metal1 s 2570 0 2620 320 1 VSS
port 11 nsew ground bidirectional
rlabel metal1 s 0 0 2900 120 1 VSS
port 11 nsew ground bidirectional
<< properties >>
string FIXED_BBOX 0 0 2900 1230
string GDS_END 277316
string GDS_FILE $PDKPATH/libs.ref/gf180mcu_osu_sc_9T/gds/gf180mcu_osu_sc_9T.gds
string GDS_START 249622
string LEFclass CORE
string LEFsite GF018hv5v_mcu_sc7
string LEFsymmetry X Y
<< end >>
